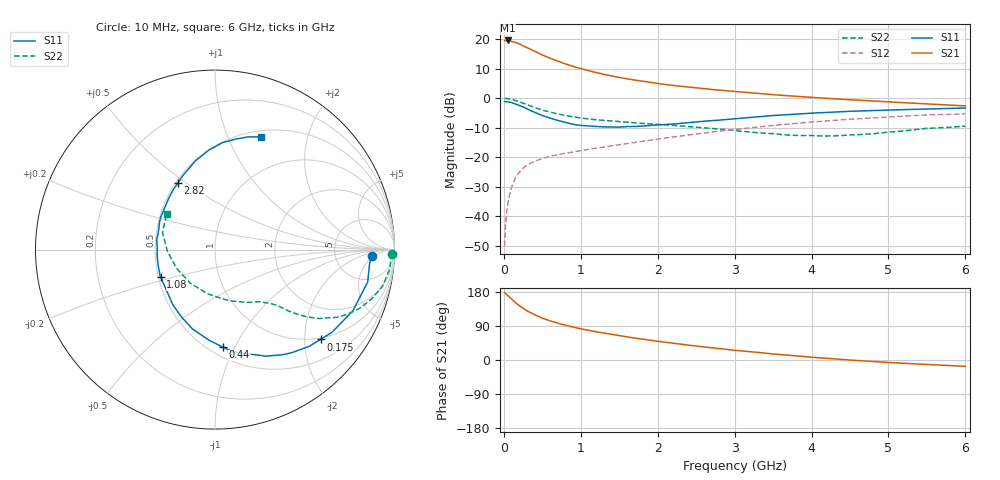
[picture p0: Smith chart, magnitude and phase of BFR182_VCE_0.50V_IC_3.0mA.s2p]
! Infineon Technologies  Discrete & RF Semiconductors
! BFR182
! VCE = 0.50 V,  IC =  3.0 mA
! Common Emitter S-Parameters:  Nov 2015
# GHz  S  MA  R  50
!  f  S11  S21  S12  S22
! GHz  MAG  ANG  MAG  ANG  MAG  ANG  MAG  ANG
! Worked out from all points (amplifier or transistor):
!   210 points, 10 MHz to 6 GHz, reference 50 ohm
!   highest |S21| = 19.5 dB at 50 MHz (marker M1)
!   |S21| within 3 dB of that: start of sweep to 346.7 MHz
!   unconditionally stable (mu >= 1): 1.154 GHz to 3.722 GHz
!   at 185 MHz: K = 0.25, MSG = 22.1 dB, |S12| = -25.7 dB
!   at 1.52 GHz: K = 1.10, MAG = 9.4 dB, |S12| = -15.7 dB
!   at 6 GHz: K = 0.98, MSG = 1.3 dB, |S12| = -5.3 dB
!   S11 on the Smith chart (normalised r, x): 10 MHz: 14, -4; 175 MHz: 0.96, -2.38; 440 MHz: 0.58, -0.90; 1.08 GHz: 0.51, -0.18; 2.82 GHz: 0.51, +0.47; 6 GHz: 0.57, +1.33
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0.01  0.8771 -2.4  9.398 178.3  0.0031 87.8  0.9879 -1.3
0.025  0.8648 -6.0  9.331 175.0  0.008 86.4  0.9818 -3.1
0.05  0.8698 -12.0  9.457 170.3  0.0158 83.5  0.9793 -6.3
0.1  0.8406 -23.9  9.144 161.1  0.0306 76.9  0.9558 -12.3
0.15  0.7981 -35.3  8.753 151.4  0.0442 70.5  0.9143 -17.6
0.175  0.7719 -40.4  8.508 147.6  0.0497 68.1  0.8902 -19.9
0.22  0.7326 -49.5  8.038 140.8  0.0593 64.0  0.8481 -23.8
0.3  0.658 -64.5  7.149 129.9  0.0732 58.7  0.7776 -29.0
0.44  0.5451 -85.3  5.87 116.1  0.089 52.3  0.6647 -34.8
0.5  0.5065 -93.7  5.364 110.4  0.0947 50.6  0.624 -36.6
0.6  0.4594 -105.9  4.725 103.4  0.1034 48.6  0.5773 -38.3
0.7  0.4189 -116.5  4.221 97.1  0.1101 47.8  0.5382 -39.7
0.8  0.3882 -127.0  3.782 91.6  0.1164 47.2  0.5069 -40.6
1.02  0.3428 -147.7  3.105 81.5  0.1299 47.6  0.4558 -42.5
1.08  0.3394 -152.9  2.962 79.2  0.1337 47.7  0.4459 -43.1
1.6  0.3291 170.6  2.118 60.9  0.1692 48.9  0.3914 -48.5
2.02  0.3524 148.7  1.753 49.0  0.2037 49.3  0.3583 -55.0
2.82  0.4255 118.9  1.355 29.7  0.2771 46.0  0.2976 -73.6
3.1  0.4575 111.5  1.26 23.8  0.3036 43.7  0.2734 -82.7
4.1  0.5625 92.0  1.008 5.9  0.4016 33.8  0.229 -131.5
5.1  0.6319 78.1  0.85 -7.5  0.4876 21.4  0.2709 177.5
6  0.6784 67.8  0.737 -16.7  0.5409 9.2  0.3352 143.5
